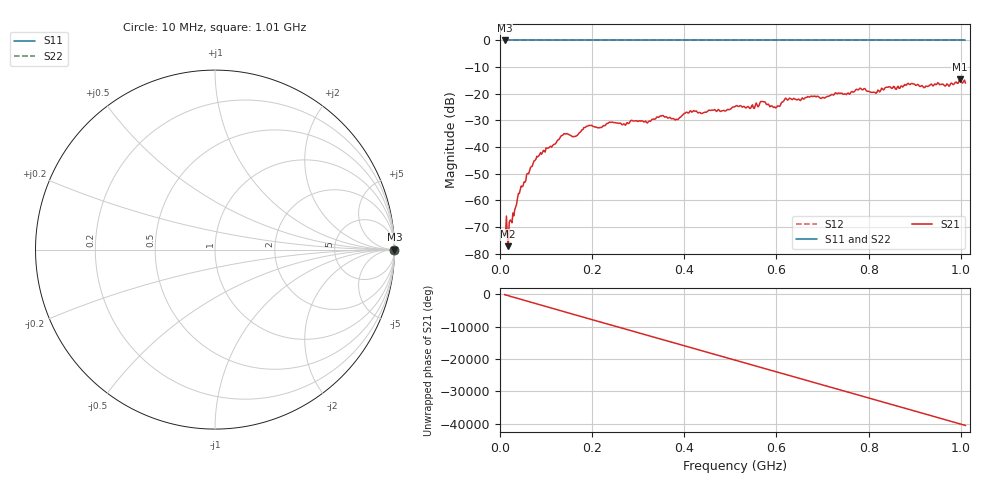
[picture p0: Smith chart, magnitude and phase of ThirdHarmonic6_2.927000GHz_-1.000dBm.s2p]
! 8/17/2025 8:09:53 AM
! C:\ANRITSUVNA\TEMP\TEMP.S2P
! CHANNEL.1
! TR.MEASUREMENT
! RAW.DATA
! RF.CORRECTION.OFF
! AVERAGING.OFF
! IF.BANDWIDTH: 5KHZ
! SWEEPTYPE:  FREQ.SWEEP(Linear)
! Reference Plane Port Info
! PORT:  PORT1  PORT2
! DISTANCE:  0  m  0  m
! TIME:  0  s  0  s
! PHASE.OFFSET:  0  deg.  0  deg.
! LOSS:  0  dB  0  dB
! REF.LOSS:  0  dB  0  dB
! REF.FREQ:  0  Hz  0  Hz
! Power Info
! POWER:  -20  dBm  -20  dBm
! EFF.POWER:  -20  dBm  -20  dBm
! SOURCE.ATTEN:  0  dB  0  dB
! TEST.ATTEN:  0  dB  0  dB
# GHZ S RI R 50.0
! FREQ.GHZ  S11RE  S11IM  S21RE  S21IM  S12RE  S12IM  S22RE  S22IM
!; PortSelection: Port_12
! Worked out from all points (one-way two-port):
!   501 points, 10 MHz to 1.01 GHz, reference 50 ohm
!   highest |S21| = -14.64 dB at 998 MHz (marker M1); lowest = -77.2 dB at 18 MHz (marker M2)
!   lowest |S11| = 0.0 dB at 10 MHz (marker M3)
!   |S11| at or under -10 dB: nowhere
!   |S22| runs from 0.0 to 0.0 dB; largest |S21 - S12| = 1.2
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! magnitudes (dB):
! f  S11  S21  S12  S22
! 10 MHz  0.0  -72.6  0.0  0.0
! 14 MHz  0.0  -65.9  0.0  0.0
! 18 MHz  0.0  -77.2  0.0  0.0
! 20 MHz  0.0  -68.3  0.0  0.0
! 42 MHz  0.0  -57.4  0.0  0.0
! 78 MHz  0.0  -44.5  0.0  0.0
! 136 MHz  0.0  -35.6  0.0  0.0
! 162 MHz  0.0  -36.0  0.0  0.0
! 178 MHz  0.0  -33.5  0.0  0.0
! 344 MHz  0.0  -28.9  0.0  0.0
! 382 MHz  0.0  -29.6  0.0  0.0
! 416 MHz  0.0  -26.9  0.0  0.0
! 510 MHz  0.0  -24.8  0.0  0.0
! 570 MHz  0.0  -22.9  0.0  0.0
! 596 MHz  0.0  -24.9  0.0  0.0
! 620 MHz  0.0  -21.6  0.0  0.0
! 678 MHz  0.0  -21.0  0.0  0.0
! 778 MHz  0.0  -18.5  0.0  0.0
! 814 MHz  0.0  -19.5  0.0  0.0
! 844 MHz  0.0  -17.4  0.0  0.0
! 998 MHz  0.0  -14.6  0.0  0.0
! 1.01 GHz  0.0  -15.9  0.0  0.0
